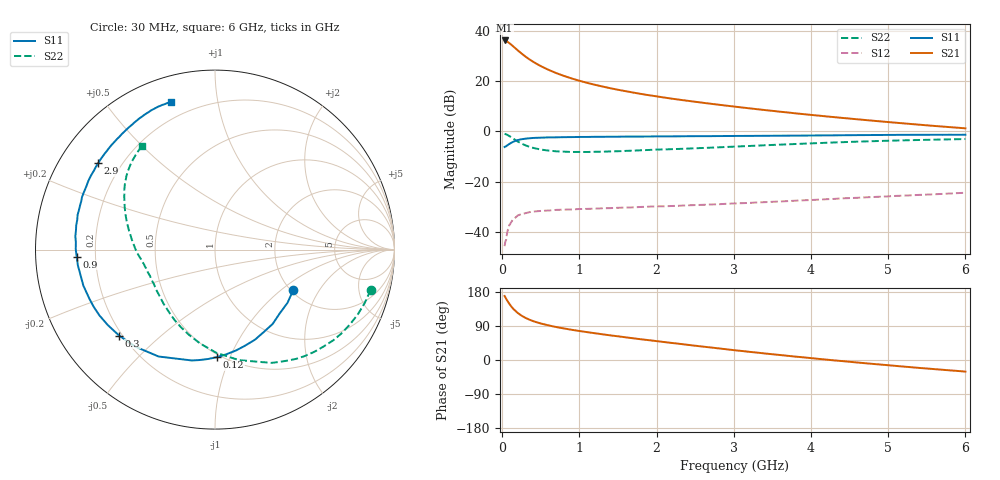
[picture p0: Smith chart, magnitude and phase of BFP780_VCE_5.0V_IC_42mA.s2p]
! Infineon Technologies  Discrete & RF Semiconductors
! BFP780
! VCE =  5.0 V,  IC =  42 mA
! Common Emitter S-Parameters:  Jul 2015
# GHz  S  MA  R  50
!  f  S11  S21  S12  S22
! GHz  MAG  ANG  MAG  ANG  MAG  ANG  MAG  ANG
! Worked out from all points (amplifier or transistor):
!   75 points, 30 MHz to 6 GHz, reference 50 ohm
!   highest |S21| = 36.1 dB at 30 MHz (marker M1)
!   |S21| within 3 dB of that: start of sweep to 165.8 MHz
!   unconditionally stable (mu >= 1): 2.026 GHz to end of sweep
!   at 150 MHz: K = 0.18, MSG = 34.1 dB, |S12| = -34.8 dB
!   at 2.3 GHz: K = 1.10, MAG = 19.1 dB, |S12| = -29.5 dB
!   at 6 GHz: K = 1.21, MAG = 10.0 dB, |S12| = -24.3 dB
!   S11 on the Smith chart (normalised r, x): 30 MHz: 2.05, -1.23; 120 MHz: 0.48, -0.90; 300 MHz: 0.19, -0.37; 900 MHz: 0.13, -0.02; 2.9 GHz: 0.12, +0.33; 6 GHz: 0.12, +0.74
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0.03  0.4911 -27.6  63.59 168.9  0.0053 65.9  0.896 -14.6
0.05  0.5063 -44.6  61.76 161.5  0.0071 59.0  0.8737 -24.4
0.07  0.5336 -59.4  59.34 154.8  0.011 56.4  0.8456 -33.5
0.09  0.5613 -72.8  56.45 148.6  0.0139 54.8  0.8097 -42.0
0.12  0.5991 -88.9  51.82 140.4  0.0163 49.0  0.7576 -53.5
0.15  0.631 -101.8  47.28 133.5  0.0183 45.2  0.7053 -63.5
0.2  0.6735 -117.8  40.49 124.2  0.0215 37.5  0.6304 -77.7
0.25  0.6992 -129.3  34.99 116.9  0.023 33.5  0.5749 -89.3
0.3  0.7175 -138.1  30.49 111.2  0.0239 30.1  0.5296 -99.0
0.35  0.7305 -144.9  26.91 106.5  0.025 27.0  0.4961 -107.1
0.4  0.741 -150.3  24.02 102.6  0.0257 25.2  0.4716 -113.9
0.5  0.7513 -158.5  19.68 96.3  0.0265 22.4  0.4365 -124.9
0.7  0.763 -169.6  14.32 86.9  0.0278 19.3  0.4025 -140.3
0.9  0.7714 -177.1  11.2 79.7  0.0283 18.5  0.3909 -150.6
1.1  0.7762 177.1  9.164 73.5  0.0291 18.2  0.3907 -158.1
1.5  0.7851 167.9  6.69 62.5  0.0306 19.0  0.4043 -168.5
2.1  0.7973 156.7  4.687 47.3  0.0327 20.3  0.439 -179.1
2.9  0.8098 143.5  3.246 28.4  0.0367 21.7  0.4909 167.5
3.1  0.8132 140.4  2.988 23.9  0.0377 22.5  0.5064 164.2
4.1  0.8316 126.1  2.055 2.9  0.0444 22.4  0.587 149.5
5.1  0.8535 114.7  1.487 -15.6  0.0526 19.5  0.6587 136.7
6  0.8588 106.4  1.151 -30.6  0.0608 15.2  0.7056 125.4
